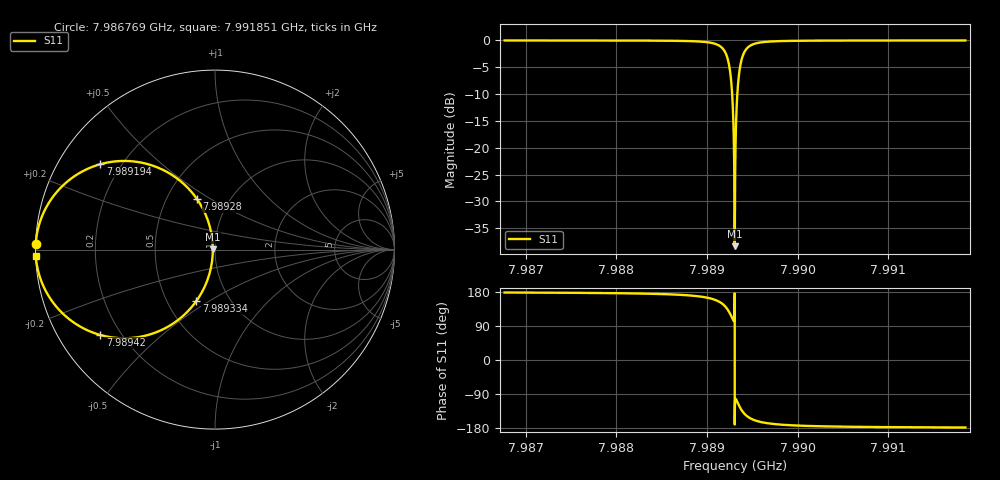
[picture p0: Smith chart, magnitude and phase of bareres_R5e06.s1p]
! Touchstone file exported from HFSS 2024.2.0
!  File:  C:/Users/artho/Documents/Ansoft/ansys_bareres_R5e06.aedt
!  Generated:  10:14:17 PM Sep  8, 2026
!  Design:  HFSS_0S5
!  Project:  ansys_bareres_R5e06
!  Setup:  Setup1
!  Solution:  Sweep1
# GHz S MA R 5000000.000000
! Terminal data exported
! Port[1] = p1
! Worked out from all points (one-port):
!   20001 points, 7.986769 GHz to 7.991851 GHz, reference 5e+06 ohm
!   lowest |S11| = -38.4 dB at 7.989307 GHz (marker M1), VSWR 1.02, Z = 4.88e+06 + j8.31e+03 ohm
!   |S11| at or under -10 dB: 7.989279 GHz to 7.989336 GHz (57.03 kHz wide, 0.000714 % of centre)
!   S11 on the Smith chart (normalised r, x): 7.986769 GHz: 0.00, +0.02; 7.989194 GHz: 0.13, +0.33; 7.98928 GHz: 0.70, +0.44; 7.989334 GHz: 0.70, -0.44; 7.98942 GHz: 0.13, -0.33; 7.991851 GHz: 0.00, -0.02
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7.9867689  0.9994 178.1
7.9874044  0.999 177.5
7.9880395  0.9977 176.2
7.988675  0.991 172.4
7.9890457  0.9503 162.1
7.9891331  0.8972 154.1
7.9891941  0.7968 143.3
7.9892264  0.6856 134.0
7.9892508  0.5491 124.3
7.9892686  0.4098 115.7
7.98928  0.3011 109.7
7.9892848  0.2511 107.2
7.9892909  0.185 104.3
7.989307  0.01209 176.0
7.98931  0.03677 -111.1
7.9893245  0.2002 -104.9
7.9893344  0.3047 -109.9
7.9893458  0.413 -115.9
7.9893639  0.5532 -124.6
7.989388  0.6873 -134.1
7.98942  0.7971 -143.4
7.9894815  0.8978 -154.2
7.9895694  0.9507 -162.2
7.9897242  0.9796 -168.5
7.9899453  0.9911 -172.5
7.9905805  0.9977 -176.2
7.9912158  0.999 -177.5
7.9918511  0.9994 -178.1
